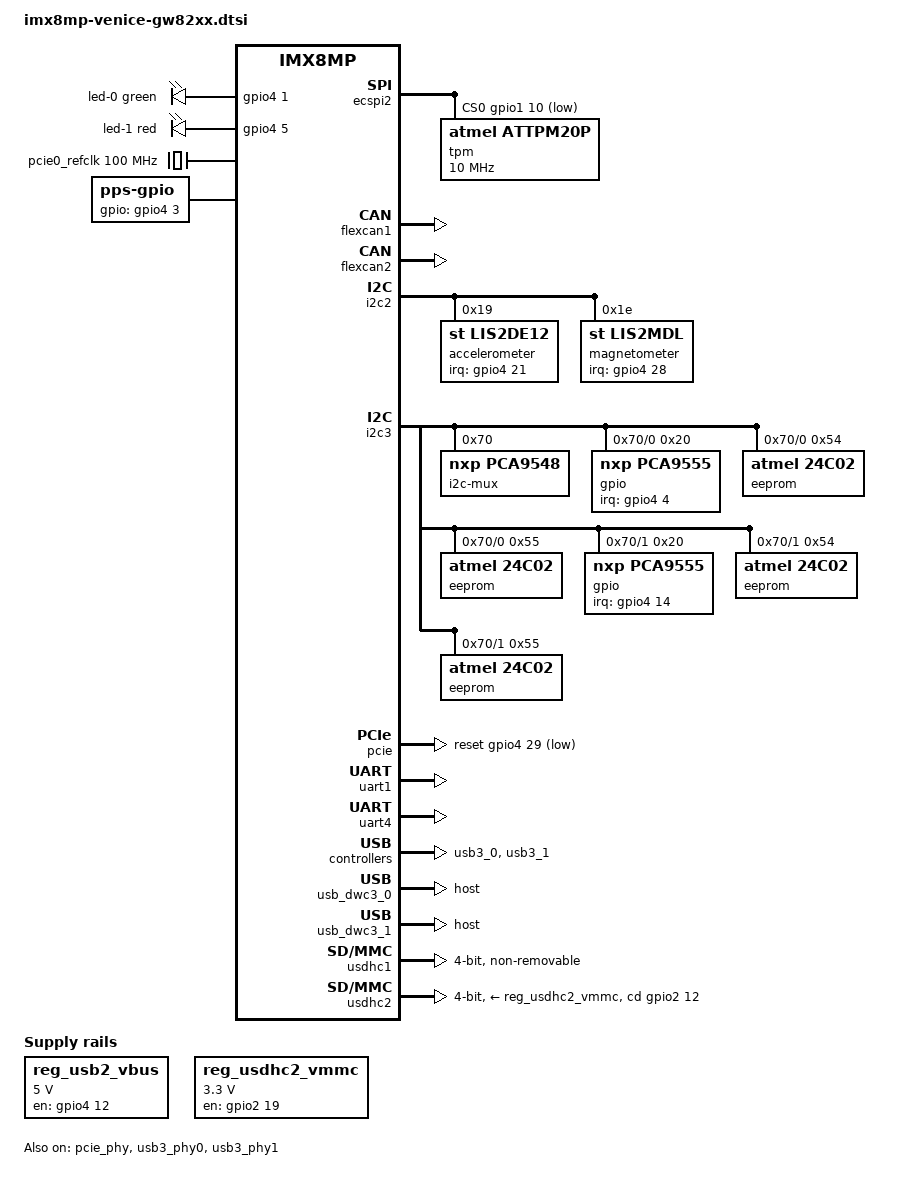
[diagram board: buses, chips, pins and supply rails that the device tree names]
// SPDX-License-Identifier: (GPL-2.0+ OR MIT)
/*
 * Copyright 2024 Gateworks Corporation
 */

#include <dt-bindings/gpio/gpio.h>
#include <dt-bindings/leds/common.h>
#include <dt-bindings/phy/phy-imx8-pcie.h>

/ {
	aliases {
		ethernet1 = &eth1;
		fsa1 = &fsa0;
		fsa2 = &fsa1;
	};

	led-controller {
		compatible = "gpio-leds";
		pinctrl-names = "default";
		pinctrl-0 = <&pinctrl_gpio_leds>;

		led-0 {
			function = LED_FUNCTION_STATUS;
			color = <LED_COLOR_ID_GREEN>;
			gpios = <&gpio4 1 GPIO_ACTIVE_HIGH>;
			default-state = "on";
			linux,default-trigger = "heartbeat";
		};

		led-1 {
			function = LED_FUNCTION_STATUS;
			color = <LED_COLOR_ID_RED>;
			gpios = <&gpio4 5 GPIO_ACTIVE_HIGH>;
			default-state = "off";
		};
	};

	pcie0_refclk: clock-pcie0 {
		compatible = "fixed-clock";
		#clock-cells = <0>;
		clock-frequency = <100000000>;
	};

	pps {
		compatible = "pps-gpio";
		pinctrl-names = "default";
		pinctrl-0 = <&pinctrl_pps>;
		gpios = <&gpio4 3 GPIO_ACTIVE_HIGH>;
	};

	reg_usb2_vbus: regulator-usb2 {
		compatible = "regulator-fixed";
		pinctrl-names = "default";
		pinctrl-0 = <&pinctrl_reg_usb2_en>;
		regulator-name = "usb2_vbus";
		regulator-min-microvolt = <5000000>;
		regulator-max-microvolt = <5000000>;
		gpio = <&gpio4 12 GPIO_ACTIVE_HIGH>;
		enable-active-high;
	};

	reg_usdhc2_vmmc: regulator-usdhc2-vmmc {
		compatible = "regulator-fixed";
		pinctrl-names = "default";
		pinctrl-0 = <&pinctrl_usdhc2_vmmc>;
		regulator-name = "VDD_3V3_SD";
		regulator-max-microvolt = <3300000>;
		regulator-min-microvolt = <3300000>;
		gpio = <&gpio2 19 GPIO_ACTIVE_HIGH>;
		enable-active-high;
		off-on-delay-us = <12000>;
		startup-delay-us = <100>;
	};
};

&ecspi2 {
	pinctrl-names = "default";
	pinctrl-0 = <&pinctrl_spi2>;
	cs-gpios = <&gpio1 10 GPIO_ACTIVE_LOW>,	/* CS0 onboard TPM */
		   <&gpio5 13 GPIO_ACTIVE_LOW>, /* CS1 off-board J32 SPI */
		   <&gpio1 12 GPIO_ACTIVE_LOW>, /* CS3 off-board J52 FSA1 */
		   <&gpio4 26 GPIO_ACTIVE_LOW>; /* CS2 off-board J51 FSA2 */
	status = "okay";

	tpm@0 {
		compatible = "atmel,attpm20p", "tcg,tpm_tis-spi";
		reg = <0x0>;
		spi-max-frequency = <10000000>;
	};
};

&flexcan1 {
	pinctrl-names = "default";
	pinctrl-0 = <&pinctrl_can1>;
	status = "okay";
};

&flexcan2 {
	pinctrl-names = "default";
	pinctrl-0 = <&pinctrl_can2>;
	status = "okay";
};

&gpio1 {
	gpio-line-names =
		"", "", "", "",
		"", "", "", "",
		"", "", "", "",
		"", "fsa2_gpio1", "", "",
		"", "", "", "",
		"", "", "", "",
		"", "", "", "",
		"", "", "", "";
};

&gpio4 {
	gpio-line-names =
		"", "", "", "",
		"", "", "", "",
		"dio1", "fsa1_gpio2", "", "dio0",
		"", "", "", "",
		"", "", "", "",
		"", "", "rs485_en", "rs485_term",
		"fsa2_gpio2", "fsa1_gpio1", "", "rs485_half",
		"", "", "", "";
};

&i2c2 {
	accelerometer@19 {
		compatible = "st,lis2de12";
		reg = <0x19>;
		pinctrl-names = "default";
		pinctrl-0 = <&pinctrl_accel>;
		interrupt-parent = <&gpio4>;
		interrupts = <21 IRQ_TYPE_LEVEL_LOW>;
		st,drdy-int-pin = <1>;
	};

	magnetometer@1e {
		compatible = "st,lis2mdl";
		reg = <0x1e>;
		pinctrl-names = "default";
		pinctrl-0 = <&pinctrl_mag>;
		interrupt-parent = <&gpio4>;
		interrupts = <28 IRQ_TYPE_LEVEL_LOW>;
	};
};

&i2c3 {
	i2c-mux@70 {
		compatible = "nxp,pca9548";
		reg = <0x70>;
		#address-cells = <1>;
		#size-cells = <0>;

		/* J30 */
		fsa1: i2c@0 {
			reg = <0>;
			pinctrl-names = "default";
			pinctrl-0 = <&pinctrl_fsa2i2c>;
			#address-cells = <1>;
			#size-cells = <0>;

			gpio@20 {
				compatible = "nxp,pca9555";
				reg = <0x20>;
				interrupt-parent = <&gpio4>;
				interrupts = <4 IRQ_TYPE_EDGE_FALLING>;
				interrupt-controller;
				#interrupt-cells = <2>;
				gpio-controller;
				#gpio-cells = <2>;
			};

			eeprom@54 {
				compatible = "atmel,24c02";
				reg = <0x54>;
				pagesize = <16>;
			};

			eeprom@55 {
				compatible = "atmel,24c02";
				reg = <0x55>;
				pagesize = <16>;
			};
		};

		/* J29 */
		fsa0: i2c@1 {
			reg = <1>;
			pinctrl-names = "default";
			pinctrl-0 = <&pinctrl_fsa1i2c>;
			#address-cells = <1>;
			#size-cells = <0>;

			gpio@20 {
				compatible = "nxp,pca9555";
				reg = <0x20>;
				interrupt-parent = <&gpio4>;
				interrupts = <14 IRQ_TYPE_EDGE_FALLING>;
				interrupt-controller;
				#interrupt-cells = <2>;
				gpio-controller;
				#gpio-cells = <2>;
			};

			eeprom@54 {
				compatible = "atmel,24c02";
				reg = <0x54>;
				pagesize = <16>;
			};

			eeprom@55 {
				compatible = "atmel,24c02";
				reg = <0x55>;
				pagesize = <16>;
			};
		};

		/* J33 */
		i2c@2 {
			reg = <2>;
			#address-cells = <1>;
			#size-cells = <0>;
		};
	};
};

&pcie_phy {
	clocks = <&pcie0_refclk>;
	clock-names = "ref";
	fsl,refclk-pad-mode = <IMX8_PCIE_REFCLK_PAD_INPUT>;
	fsl,clkreq-unsupported;
	status = "okay";
};

&pcie {
	pinctrl-names = "default";
	pinctrl-0 = <&pinctrl_pcie0>;
	reset-gpio = <&gpio4 29 GPIO_ACTIVE_LOW>;
	status = "okay";

	pcie@0,0 {
		reg = <0x0000 0 0 0 0>;
		device_type = "pci";
		#address-cells = <3>;
		#size-cells = <2>;
		ranges;

		pcie@0,0 {
			reg = <0x0000 0 0 0 0>;
			device_type = "pci";
			#address-cells = <3>;
			#size-cells = <2>;
			ranges;

			pcie@7,0 {
				reg = <0x3800 0 0 0 0>;
				device_type = "pci";
				#address-cells = <3>;
				#size-cells = <2>;
				ranges;

				eth1: ethernet@0,0 {
					reg = <0x0000 0 0 0 0>;
					#address-cells = <3>;
					#size-cells = <2>;
					ranges;
					local-mac-address = [00 00 00 00 00 00];
				};
			};
		};
	};
};

/* GPS */
&uart1 {
	pinctrl-names = "default";
	pinctrl-0 = <&pinctrl_uart1>;
	status = "okay";
};

/* RS232 */
&uart4 {
	pinctrl-names = "default";
	pinctrl-0 = <&pinctrl_uart4>;
	status = "okay";
};

/* USB1 - FSA1 */
&usb3_0 {
	fsl,permanently-attached;
	fsl,disable-port-power-control;
	status = "okay";
};

&usb3_phy0 {
	status = "okay";
};

&usb_dwc3_0 {
	dr_mode = "host";
	status = "okay";
};

/* USB2 - USB3.0 Hub */
&usb3_1 {
	fsl,permanently-attached;
	fsl,disable-port-power-control;
	status = "okay";
};

&usb3_phy1 {
	vbus-supply = <&reg_usb2_vbus>;
	status = "okay";
};

&usb_dwc3_1 {
	dr_mode = "host";
	status = "okay";
};

/* SDIO 1.8V */
&usdhc1 {
	pinctrl-names = "default", "state_100mhz", "state_200mhz";
	pinctrl-0 = <&pinctrl_usdhc1>;
	pinctrl-1 = <&pinctrl_usdhc1_100mhz>;
	pinctrl-2 = <&pinctrl_usdhc1_200mhz>;
	bus-width = <4>;
	non-removable;
	status = "okay";
};

/* microSD */
&usdhc2 {
	pinctrl-names = "default", "state_100mhz", "state_200mhz";
	pinctrl-0 = <&pinctrl_usdhc2>, <&pinctrl_usdhc2_gpio>;
	pinctrl-1 = <&pinctrl_usdhc2_100mhz>, <&pinctrl_usdhc2_gpio>;
	pinctrl-2 = <&pinctrl_usdhc2_200mhz>, <&pinctrl_usdhc2_gpio>;
	cd-gpios = <&gpio2 12 GPIO_ACTIVE_HIGH>; /* CD is active high */
	bus-width = <4>;
	vmmc-supply = <&reg_usdhc2_vmmc>;
	status = "okay";
};

&iomuxc {
	pinctrl-names = "default";
	pinctrl-0 = <&pinctrl_hog>;

	pinctrl_hog: hoggrp {
		fsl,pins = <
			MX8MP_IOMUXC_SAI1_RXD6__GPIO4_IO08	0x40000146 /* DIO1 */
			MX8MP_IOMUXC_SAI1_TXC__GPIO4_IO11	0x40000146 /* DIO0 */
			MX8MP_IOMUXC_SAI2_MCLK__GPIO4_IO27	0x40000106 /* RS485_HALF */
			MX8MP_IOMUXC_SAI2_RXC__GPIO4_IO22	0x40000106 /* RS485_EN */
			MX8MP_IOMUXC_SAI2_RXD0__GPIO4_IO23	0x40000106 /* RS485_TERM */
		>;
	};

	pinctrl_accel: accelgrp {
		fsl,pins = <
			MX8MP_IOMUXC_SAI2_RXFS__GPIO4_IO21	0x150	/* IRQ# */
		>;
	};

	pinctrl_can1: can1grp {
		fsl,pins = <
			MX8MP_IOMUXC_SPDIF_TX__CAN1_TX		0x154
			MX8MP_IOMUXC_SPDIF_RX__CAN1_RX		0x154
		>;
	};

	pinctrl_can2: can2grp {
		fsl,pins = <
			MX8MP_IOMUXC_SAI5_RXD3__CAN2_TX		0x154
			MX8MP_IOMUXC_SAI5_MCLK__CAN2_RX		0x154
		>;
	};

	pinctrl_gpio_leds: gpioledgrp {
		fsl,pins = <
			MX8MP_IOMUXC_SAI1_RXC__GPIO4_IO01	0x6	/* LEDG */
			MX8MP_IOMUXC_SAI1_RXD3__GPIO4_IO05	0x6	/* LEDR */
		>;
	};

	pinctrl_fsa1i2c: fsa1i2cgrp {
		fsl,pins = <
			MX8MP_IOMUXC_SAI1_TXD2__GPIO4_IO14	0x1d0		/* FSA1_ALERT# */
			MX8MP_IOMUXC_SAI2_TXC__GPIO4_IO25	0x400001d0	/* FSA1_GPIO1 */
			MX8MP_IOMUXC_SAI1_RXD7__GPIO4_IO09	0x400001d0	/* FSA1_GPIO2 */
		>;
	};

	pinctrl_fsa2i2c: fsa2i2cgrp {
		fsl,pins = <
			MX8MP_IOMUXC_SAI1_RXD2__GPIO4_IO04	0x1d0		/* FSA2_ALERT# */
			MX8MP_IOMUXC_GPIO1_IO13__GPIO1_IO13	0x400001d0	/* FSA2_GPIO1 */
			MX8MP_IOMUXC_SAI2_TXFS__GPIO4_IO24	0x400001d0	/* FSA2_GPIO2 */
		>;
	};

	pinctrl_mag: maggrp {
		fsl,pins = <
			MX8MP_IOMUXC_SAI3_RXFS__GPIO4_IO28	0x140	/* IRQ# */
		>;
	};

	pinctrl_pcie0: pcie0grp {
		fsl,pins = <
			MX8MP_IOMUXC_SAI3_RXC__GPIO4_IO29	0x106	/* PERST# */
		>;
	};

	pinctrl_pps: ppsgrp {
		fsl,pins = <
			MX8MP_IOMUXC_SAI1_RXD1__GPIO4_IO03	0x146
		>;
	};

	pinctrl_reg_usb2_en: regusb2grp {
		fsl,pins = <
			MX8MP_IOMUXC_SAI1_TXD0__GPIO4_IO12	0x146	/* USBHUB_RST# */
		>;
	};

	pinctrl_spi2: spi2grp {
		fsl,pins = <
			MX8MP_IOMUXC_ECSPI2_SCLK__ECSPI2_SCLK	0xd0
			MX8MP_IOMUXC_ECSPI2_MOSI__ECSPI2_MOSI	0xd0
			MX8MP_IOMUXC_ECSPI2_MISO__ECSPI2_MISO	0xd0
			MX8MP_IOMUXC_ECSPI2_SS0__GPIO5_IO13	0x140	/* J32_CS */
			MX8MP_IOMUXC_GPIO1_IO10__GPIO1_IO10	0x140	/* TPM_CS */
			MX8MP_IOMUXC_GPIO1_IO12__GPIO1_IO12	0x140	/* FSA1_CS */
			MX8MP_IOMUXC_SAI2_TXD0__GPIO4_IO26	0x140	/* FSA2_CS */
		>;
	};

	pinctrl_uart1: uart1grp {
		fsl,pins = <
			MX8MP_IOMUXC_UART1_RXD__UART1_DCE_RX	0x140
			MX8MP_IOMUXC_UART1_TXD__UART1_DCE_TX	0x140
		>;
	};

	pinctrl_uart4: uart4grp {
		fsl,pins = <
			MX8MP_IOMUXC_UART4_RXD__UART4_DCE_RX	0x140
			MX8MP_IOMUXC_UART4_TXD__UART4_DCE_TX	0x140
		>;
	};

	pinctrl_usdhc1: usdhc1grp {
		fsl,pins = <
			MX8MP_IOMUXC_SD1_CLK__USDHC1_CLK	0x190
			MX8MP_IOMUXC_SD1_CMD__USDHC1_CMD	0x1d0
			MX8MP_IOMUXC_SD1_DATA0__USDHC1_DATA0	0x1d0
			MX8MP_IOMUXC_SD1_DATA1__USDHC1_DATA1	0x1d0
			MX8MP_IOMUXC_SD1_DATA2__USDHC1_DATA2	0x1d0
			MX8MP_IOMUXC_SD1_DATA3__USDHC1_DATA3	0x1d0
		>;
	};

	pinctrl_usdhc1_100mhz: usdhc1-100mhzgrp {
		fsl,pins = <
			MX8MP_IOMUXC_SD1_CLK__USDHC1_CLK	0x194
			MX8MP_IOMUXC_SD1_CMD__USDHC1_CMD	0x1d4
			MX8MP_IOMUXC_SD1_DATA0__USDHC1_DATA0	0x1d4
			MX8MP_IOMUXC_SD1_DATA1__USDHC1_DATA1	0x1d4
			MX8MP_IOMUXC_SD1_DATA2__USDHC1_DATA2	0x1d4
			MX8MP_IOMUXC_SD1_DATA3__USDHC1_DATA3	0x1d4
		>;
	};

	pinctrl_usdhc1_200mhz: usdhc1-200mhzgrp {
		fsl,pins = <
			MX8MP_IOMUXC_SD1_CLK__USDHC1_CLK	0x196
			MX8MP_IOMUXC_SD1_CMD__USDHC1_CMD	0x1d6
			MX8MP_IOMUXC_SD1_DATA0__USDHC1_DATA0	0x1d6
			MX8MP_IOMUXC_SD1_DATA1__USDHC1_DATA1	0x1d6
			MX8MP_IOMUXC_SD1_DATA2__USDHC1_DATA2	0x1d6
			MX8MP_IOMUXC_SD1_DATA3__USDHC1_DATA3	0x1d6
		>;
	};

	pinctrl_usdhc2: usdhc2grp {
		fsl,pins = <
			MX8MP_IOMUXC_SD2_CLK__USDHC2_CLK	0x190
			MX8MP_IOMUXC_SD2_CMD__USDHC2_CMD	0x1d0
			MX8MP_IOMUXC_SD2_DATA0__USDHC2_DATA0	0x1d0
			MX8MP_IOMUXC_SD2_DATA1__USDHC2_DATA1	0x1d0
			MX8MP_IOMUXC_SD2_DATA2__USDHC2_DATA2	0x1d0
			MX8MP_IOMUXC_SD2_DATA3__USDHC2_DATA3	0x1d0
			MX8MP_IOMUXC_GPIO1_IO04__USDHC2_VSELECT	0xc1
		>;
	};

	pinctrl_usdhc2_100mhz: usdhc2-100mhzgrp {
		fsl,pins = <
			MX8MP_IOMUXC_SD2_CLK__USDHC2_CLK	0x194
			MX8MP_IOMUXC_SD2_CMD__USDHC2_CMD	0x1d4
			MX8MP_IOMUXC_SD2_DATA0__USDHC2_DATA0	0x1d4
			MX8MP_IOMUXC_SD2_DATA1__USDHC2_DATA1	0x1d4
			MX8MP_IOMUXC_SD2_DATA2__USDHC2_DATA2	0x1d4
			MX8MP_IOMUXC_SD2_DATA3__USDHC2_DATA3	0x1d4
			MX8MP_IOMUXC_GPIO1_IO04__USDHC2_VSELECT	0xc1
		>;
	};

	pinctrl_usdhc2_200mhz: usdhc2-200mhzgrp {
		fsl,pins = <
			MX8MP_IOMUXC_SD2_CLK__USDHC2_CLK	0x196
			MX8MP_IOMUXC_SD2_CMD__USDHC2_CMD	0x1d6
			MX8MP_IOMUXC_SD2_DATA0__USDHC2_DATA0	0x1d6
			MX8MP_IOMUXC_SD2_DATA1__USDHC2_DATA1	0x1d6
			MX8MP_IOMUXC_SD2_DATA2__USDHC2_DATA2	0x1d6
			MX8MP_IOMUXC_SD2_DATA3__USDHC2_DATA3	0x1d6
			MX8MP_IOMUXC_GPIO1_IO04__USDHC2_VSELECT	0xc1
		>;
	};

	pinctrl_usdhc2_vmmc: usdhc2-vmmc-grp {
		fsl,pins = <
			MX8MP_IOMUXC_SD2_RESET_B__GPIO2_IO19	0x1d0
		>;
	};

	pinctrl_usdhc2_gpio: usdhc2gpiogrp {
		fsl,pins = <
			MX8MP_IOMUXC_SD2_CD_B__GPIO2_IO12	0x1c4
		>;
	};
};
